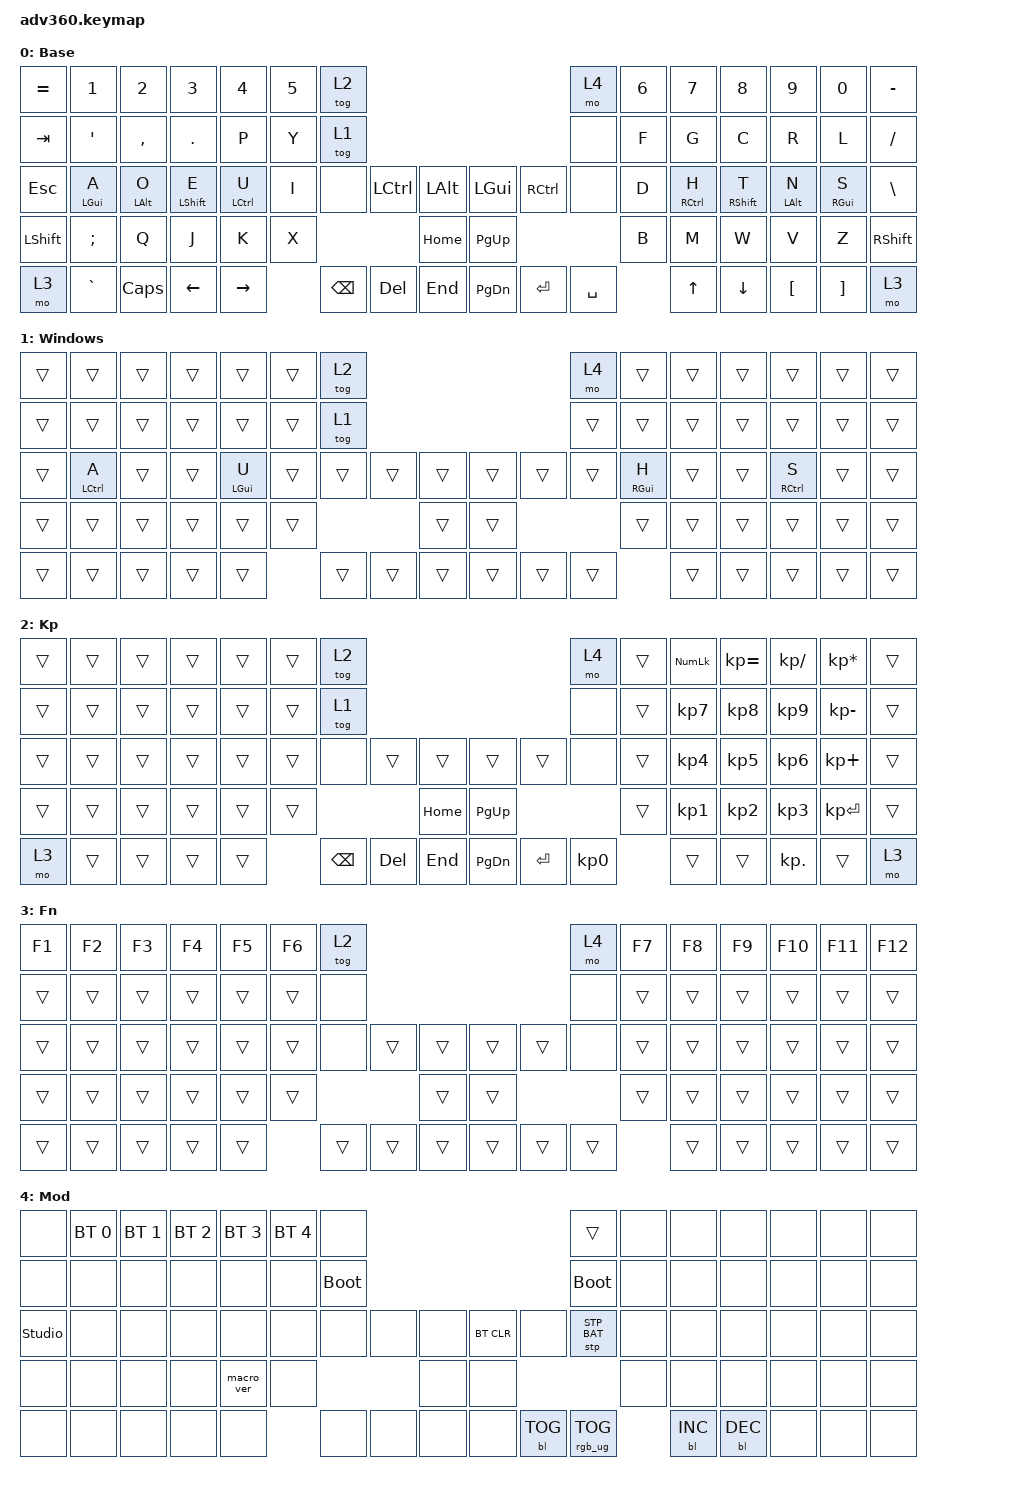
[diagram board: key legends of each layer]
#include <dt-bindings/zmk/stp.h>
#include <behaviors.dtsi>
#include <dt-bindings/zmk/backlight.h>
#include <dt-bindings/zmk/bt.h>
#include <dt-bindings/zmk/keys.h>
#include <dt-bindings/zmk/rgb.h>

/ {
    behaviors {
        #include "macros.dtsi"
      #include "version.dtsi"

        hm: homerow_mods {
            compatible = "zmk,behavior-hold-tap";
            label = "HOMEROW_MODS";
            #binding-cells = <2>;
            tapping-term-ms = <200>;
            quick_tap_ms = <175>;
            flavor = "tap-preferred";
            bindings = <&kp>, <&kp>;
        };
    };

    keymap {
        compatible = "zmk,keymap";

        default_layer {
            display-name = "Base";
            bindings = <
&kp EQUAL  &kp N1         &kp N2      &kp N3       &kp N4       &kp N5  &tog 2                                                   &mo 4      &kp N6  &kp N7       &kp N8       &kp N9      &kp N0      &kp MINUS
&kp TAB    &kp SQT        &kp COMMA   &kp PERIOD   &kp P        &kp Y   &tog 1                                                   &none      &kp F   &kp G        &kp C        &kp R       &kp L       &kp SLASH
&kp ESC    &hm LGUI A     &hm LALT O  &hm LSHFT E  &hm LCTRL U  &kp I   &none     &kp LCTRL  &kp LALT      &kp LGUI   &kp RCTRL  &none      &kp D   &hm RCTRL H  &hm RSHFT T  &hm LALT N  &hm RGUI S  &kp BACKSLASH
&kp LSHFT  &kp SEMICOLON  &kp Q       &kp J        &kp K        &kp X                        &kp HOME      &kp PG_UP                        &kp B   &kp M        &kp W        &kp V       &kp Z       &kp RSHFT
&mo 3      &kp GRAVE      &kp CAPS    &kp LEFT     &kp RIGHT            &kp BSPC  &kp DEL    &kp END       &kp PG_DN  &kp ENTER  &kp SPACE          &kp UP       &kp DOWN     &kp LBKT    &kp RBKT    &mo 3
            >;
        };

        Windows {
            bindings = <
&trans  &trans       &trans  &trans  &trans      &trans  &tog 2                                      &mo 4   &trans      &trans  &trans  &trans       &trans  &trans
&trans  &trans       &trans  &trans  &trans      &trans  &tog 1                                      &trans  &trans      &trans  &trans  &trans       &trans  &trans
&trans  &hm LCTRL A  &trans  &trans  &hm LGUI U  &trans  &trans  &trans  &trans      &trans  &trans  &trans  &hm RGUI H  &trans  &trans  &hm RCTRL S  &trans  &trans
&trans  &trans       &trans  &trans  &trans      &trans                  &trans      &trans                  &trans      &trans  &trans  &trans       &trans  &trans
&trans  &trans       &trans  &trans  &trans              &trans  &trans  &trans      &trans  &trans  &trans              &trans  &trans  &trans       &trans  &trans
            >;
        };

        keypad {
            display-name = "Kp";
            bindings = <
&trans  &trans  &trans  &trans  &trans  &trans  &tog 2                                                 &mo 4      &trans  &kp KP_NUM  &kp KP_EQUAL  &kp KP_DIVIDE  &kp KP_MULTIPLY  &trans
&trans  &trans  &trans  &trans  &trans  &trans  &tog 1                                                 &none      &trans  &kp KP_N7   &kp KP_N8     &kp KP_N9      &kp KP_MINUS     &trans
&trans  &trans  &trans  &trans  &trans  &trans  &none     &trans   &trans        &trans     &trans     &none      &trans  &kp KP_N4   &kp KP_N5     &kp KP_N6      &kp KP_PLUS      &trans
&trans  &trans  &trans  &trans  &trans  &trans                     &kp HOME      &kp PG_UP                        &trans  &kp KP_N1   &kp KP_N2     &kp KP_N3      &kp KP_ENTER     &trans
&mo 3   &trans  &trans  &trans  &trans          &kp BSPC  &kp DEL  &kp END       &kp PG_DN  &kp ENTER  &kp KP_N0          &trans      &trans        &kp KP_DOT     &trans           &mo 3
            >;
        };

        fn {
            display-name = "Fn";
            bindings = <
&kp F1  &kp F2  &kp F3  &kp F4  &kp F5  &kp F6  &tog 2                                      &mo 4   &kp F7  &kp F8  &kp F9  &kp F10  &kp F11  &kp F12
&trans  &trans  &trans  &trans  &trans  &trans  &none                                       &none   &trans  &trans  &trans  &trans   &trans   &trans
&trans  &trans  &trans  &trans  &trans  &trans  &none   &trans  &trans      &trans  &trans  &none   &trans  &trans  &trans  &trans   &trans   &trans
&trans  &trans  &trans  &trans  &trans  &trans                  &trans      &trans                  &trans  &trans  &trans  &trans   &trans   &trans
&trans  &trans  &trans  &trans  &trans          &trans  &trans  &trans      &trans  &trans  &trans          &trans  &trans  &trans   &trans   &trans
            >;
        };

        mod {
            display-name = "Mod";
            bindings = <
&none           &bt BT_SEL 0  &bt BT_SEL 1  &bt BT_SEL 2  &bt BT_SEL 3  &bt BT_SEL 4  &none                                                  &trans           &none  &none       &none       &none  &none  &none
&none           &none         &none         &none         &none         &none         &bootloader                                            &bootloader      &none  &none       &none       &none  &none  &none
&studio_unlock  &none         &none         &none         &none         &none         &none        &none  &none      &bt BT_CLR  &none       &stp STP_BAT     &none  &none       &none       &none  &none  &none
&none           &none         &none         &none         &macro_ver    &none                             &none      &none                                    &none  &none       &none       &none  &none  &none
&none           &none         &none         &none         &none                       &none        &none  &none      &none       &bl BL_TOG  &rgb_ug RGB_TOG         &bl BL_INC  &bl BL_DEC  &none  &none  &none
            >;
        };

        extra1 {
            display-name = "Red";
            status = "reserved";
        };

        extra2 {
            display-name = "Purple";
            status = "reserved";
        };

        extra3 {
            display-name = "Cyan";
            status = "reserved";
        };

        extra4 {
            display-name = "Yellow";
            status = "reserved";
        };
    };
};
